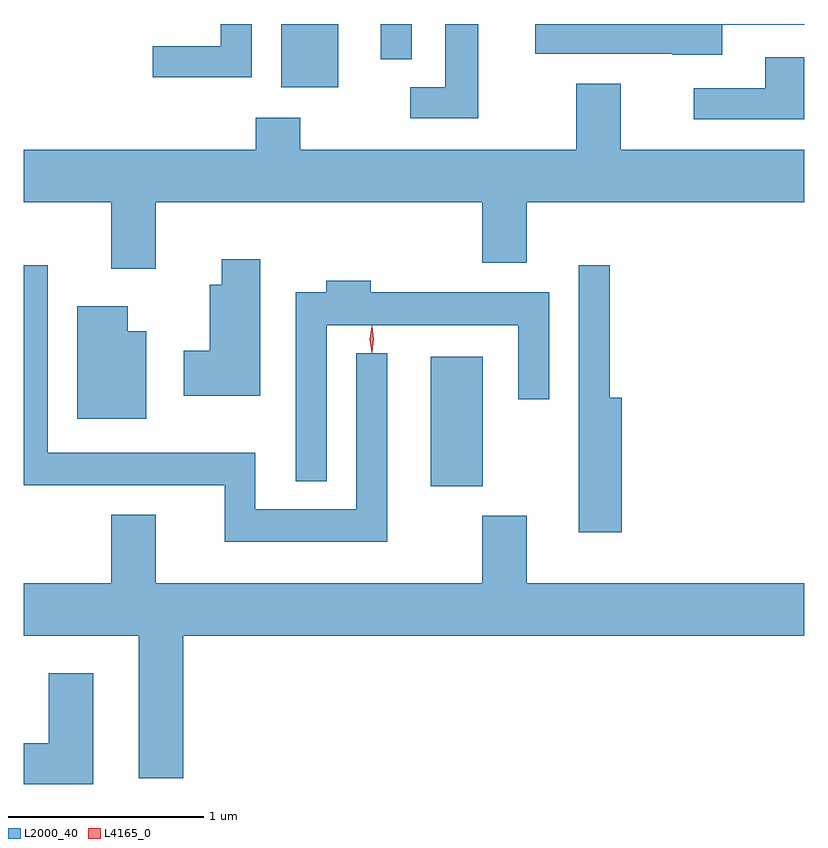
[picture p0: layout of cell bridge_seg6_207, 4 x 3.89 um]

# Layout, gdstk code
import gdstk
lib = gdstk.Library(unit=1e-6, precision=1e-09)
def R(c, l, rs):  # rectangles x0, y0, x1, y1
    for r in rs: c.add(gdstk.rectangle(r[:2], r[2:], *l))
def P(c, l, *ps):  # polygons
    for p in ps: c.add(gdstk.Polygon(p, *l))
L2000_40 = (2000, 40)
L4165_0 = (4165, 0)

bridge_seg6_207 = lib.new_cell('bridge_seg6_207')
R(bridge_seg6_207, L2000_40, [(1080.316,1559.681,1080.584,1560.344), (1079.551,1561.726,1079.844,1562.049), (1080.061,1561.868,1080.219,1562.049)])
P(bridge_seg6_207, L2000_40, [(1081.809,1562.046),(1082.231,1562.046),(1082.231,1562.049),(1080.851,1562.049),(1080.851,1561.896),(1081.555,1561.896),(1081.555,1561.891),(1081.809,1561.891)],
  [(1080.559,1562.049),(1080.391,1562.049),(1080.391,1561.724),(1080.213,1561.724),(1080.213,1561.566),(1080.559,1561.566)],
  [(1079.399,1562.049),(1079.241,1562.049),(1079.241,1561.934),(1078.893,1561.934),(1078.893,1561.776),(1079.399,1561.776)],
  [(1082.231,1561.879),(1082.031,1561.879),(1082.031,1561.719),(1081.663,1561.719),(1081.663,1561.561),(1082.231,1561.561)],
  [(1078.909,1561.136),(1080.581,1561.136),(1080.581,1560.826),(1080.809,1560.826),(1080.809,1561.136),(1082.231,1561.136),(1082.231,1561.404),(1081.289,1561.404),(1081.289,1561.744),(1081.061,1561.744),(1081.061,1561.404),(1079.649,1561.404),(1079.649,1561.569),(1079.421,1561.569),(1079.421,1561.404),(1078.231,1561.404),(1078.231,1561.136),(1078.681,1561.136),(1078.681,1560.796),(1078.909,1560.796)],
  [(1079.444,1560.844),(1079.246,1560.844),(1079.246,1560.714),(1079.186,1560.714),(1079.186,1560.374),(1079.051,1560.374),(1079.051,1560.146),(1079.444,1560.146)],
  [(1080.094,1560.363),(1079.936,1560.363),(1079.936,1559.564),(1079.419,1559.564),(1079.419,1559.854),(1078.354,1559.854),(1078.354,1560.813),(1078.231,1560.813),(1078.231,1559.686),(1079.261,1559.686),(1079.261,1559.396),(1080.094,1559.396)],
  [(1081.294,1560.134),(1081.234,1560.134),(1081.234,1560.813),(1081.076,1560.813),(1081.076,1559.446),(1081.294,1559.446)],
  [(1079.784,1560.506),(1080.766,1560.506),(1080.766,1560.128),(1080.924,1560.128),(1080.924,1560.674),(1080.009,1560.674),(1080.009,1560.734),(1079.781,1560.734),(1079.781,1560.674),(1079.626,1560.674),(1079.626,1559.708),(1079.784,1559.708)],
  [(1078.859,1560.474),(1078.764,1560.474),(1078.764,1560.604),(1078.506,1560.604),(1078.506,1560.026),(1078.859,1560.026)],
  [(1079.049,1558.916),(1082.231,1558.916),(1082.231,1559.184),(1080.809,1559.184),(1080.809,1559.529),(1080.581,1559.529),(1080.581,1559.184),(1078.909,1559.184),(1078.909,1559.534),(1078.681,1559.534),(1078.681,1559.184),(1078.231,1559.184),(1078.231,1558.916),(1078.821,1558.916),(1078.821,1558.186),(1079.049,1558.186)],
  [(1078.589,1558.724),(1078.361,1558.724),(1078.361,1558.364),(1078.231,1558.364),(1078.231,1558.156),(1078.589,1558.156)])
P(bridge_seg6_207, L4165_0, [(1080.015,1560.367),(1080.015,1560.368),(1080.005,1560.434),(1080.015,1560.5),(1080.015,1560.501),(1080.016,1560.5),(1080.025,1560.434),(1080.016,1560.368)],
  [(1080.014,1560.364),(1080.014,1560.364),(1080.004,1560.433),(1080.014,1560.502),(1080.014,1560.503),(1080.015,1560.502),(1080.024,1560.433),(1080.015,1560.364)])

lib.write_gds('bridge_seg6_207.gds')
